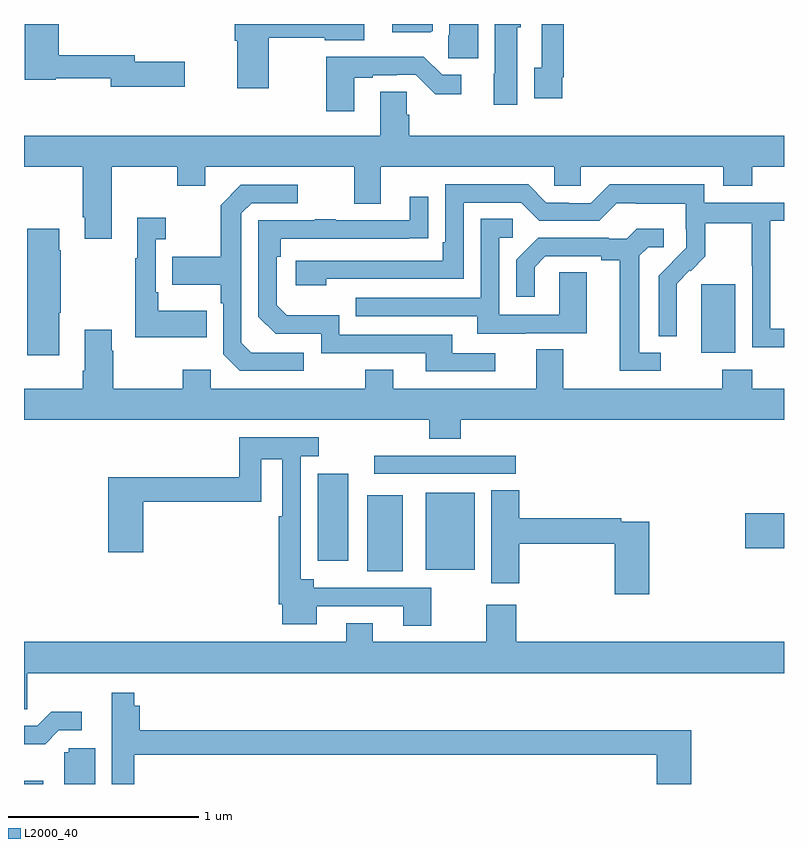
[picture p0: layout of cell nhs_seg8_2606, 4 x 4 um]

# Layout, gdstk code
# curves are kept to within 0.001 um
import gdstk
lib = gdstk.Library(unit=1e-6, precision=1e-09)
def R(c, l, rs):  # rectangles x0, y0, x1, y1
    for r in rs: c.add(gdstk.rectangle(r[:2], r[2:], *l))
def P(c, l, *ps):  # polygons
    for p in ps: c.add(gdstk.Polygon(p, *l))
L2000_40 = (2000, 40)

nhs_seg8_2606 = lib.new_cell('nhs_seg8_2606')
R(nhs_seg8_2606, L2000_40, [(275,1131.9,275.101,1131.916), (276.806,1133.021,276.994,1133.419), (277.115,1133.027,277.372,1133.434), (276.545,1133.076,276.706,1133.533), (278.796,1133.141,279,1133.324), (276.843,1133.532,277.588,1133.628), (278.564,1134.17,278.743,1134.531)])
P(nhs_seg8_2606, L2000_40, [(275.845,1135.701),(275.584,1135.701),(275.584,1135.735),(275.183,1135.735),(275.183,1135.9),(275.005,1135.9),(275.005,1135.606),(275.166,1135.606),(275.166,1135.614),(275.456,1135.614),(275.456,1135.571),(275.845,1135.571)],
  [(277.834,1135.621),(277.841,1135.621),(277.841,1135.9),(277.725,1135.9),(277.725,1135.67),(277.685,1135.67),(277.685,1135.509),(277.834,1135.509)],
  [(277.15,1135.864),(277.15,1135.9),(276.938,1135.9),(276.938,1135.856),(277.142,1135.856)],
  [(277.39,1135.9),(277.238,1135.9),(277.238,1135.842),(277.234,1135.842),(277.234,1135.719),(277.39,1135.719)],
  [(277.597,1135.884),(277.615,1135.884),(277.615,1135.9),(277.478,1135.9),(277.478,1135.638),(277.472,1135.638),(277.472,1135.476),(277.597,1135.476)],
  [(276.288,1135.828),(276.584,1135.828),(276.584,1135.814),(276.79,1135.814),(276.79,1135.9),(276.11,1135.9),(276.11,1135.811),(276.122,1135.811),(276.122,1135.563),(276.288,1135.563)],
  [(276.739,1135.617),(276.835,1135.617),(276.835,1135.629),(276.962,1135.629),(276.962,1135.632),(277.062,1135.632),(277.165,1135.53),(277.3,1135.53),(277.3,1135.632),(277.2,1135.632),(277.105,1135.727),(276.592,1135.727),(276.592,1135.44),(276.739,1135.44)],
  [(275.461,1135.148),(275.806,1135.148),(275.806,1135.049),(275.953,1135.049),(275.953,1135.148),(276.737,1135.148),(276.737,1134.954),(276.877,1134.954),(276.877,1135.148),(277.791,1135.148),(277.791,1135.05),(277.929,1135.05),(277.929,1135.148),(278.681,1135.148),(278.681,1135.049),(278.834,1135.049),(278.834,1135.148),(279,1135.148),(279,1135.312),(277.028,1135.312),(277.028,1135.422),(277.014,1135.422),(277.014,1135.544),(276.875,1135.544),(276.875,1135.312),(275,1135.312),(275,1135.148),(275.309,1135.148),(275.309,1134.883),(275.321,1134.883),(275.321,1134.771),(275.461,1134.771)],
  [(279,1134.297),(278.928,1134.297),(278.928,1134.864),(279,1134.864),(279,1134.96),(278.58,1134.96),(278.58,1135.057),(278.083,1135.057),(277.983,1134.957),(277.868,1134.957),(277.868,1134.96),(277.749,1134.96),(277.653,1135.056),(277.218,1135.056),(277.218,1134.751),(277.205,1134.751),(277.205,1134.654),(276.429,1134.654),(276.429,1134.524),(276.59,1134.524),(276.59,1134.558),(277.314,1134.558),(277.314,1134.96),(277.617,1134.96),(277.713,1134.864),(278.028,1134.864),(278.121,1134.957),(278.221,1134.957),(278.221,1134.953),(278.484,1134.953),(278.484,1134.819),(278.486,1134.819),(278.486,1134.722),(278.34,1134.574),(278.34,1134.256),(278.436,1134.256),(278.435,1134.533),(278.505,1134.603),(278.508,1134.6),(278.585,1134.677),(278.585,1134.852),(278.83,1134.852),(278.83,1134.628),(278.832,1134.628),(278.832,1134.199),(279,1134.199)],
  [(276.472,1134.171),(276.195,1134.171),(276.144,1134.222),(276.144,1134.903),(276.198,1134.957),(276.442,1134.957),(276.442,1135.053),(276.141,1135.053),(276.036,1134.947),(276.036,1134.675),(275.779,1134.675),(275.779,1134.527),(276.036,1134.527),(276.036,1134.431),(276.048,1134.431),(276.048,1134.162),(276.135,1134.075),(276.472,1134.075)],
  [(277.48,1134.168),(277.255,1134.168),(277.255,1134.264),(276.66,1134.264),(276.66,1134.367),(276.383,1134.367),(276.33,1134.42),(276.33,1134.674),(276.35,1134.674),(276.35,1134.771),(277.127,1134.772),(277.127,1134.991),(277.031,1134.991),(277.031,1134.867),(276.641,1134.867),(276.641,1134.872),(276.529,1134.872),(276.529,1134.867),(276.234,1134.867),(276.234,1134.36),(276.324,1134.27),(276.564,1134.27),(276.564,1134.168),(277.115,1134.168),(277.115,1134.072),(277.48,1134.072)],
  [(275.963,1134.391),(275.707,1134.391),(275.707,1134.487),(275.694,1134.487),(275.694,1134.767),(275.746,1134.767),(275.746,1134.88),(275.597,1134.88),(275.597,1134.667),(275.586,1134.667),(275.586,1134.251),(275.963,1134.251)],
  [(277.639,1134.273),(277.963,1134.273),(277.963,1134.593),(277.818,1134.593),(277.818,1134.369),(277.5,1134.369),(277.5,1134.774),(277.573,1134.774),(277.573,1134.875),(277.404,1134.875),(277.404,1134.459),(276.745,1134.459),(276.745,1134.363),(277.385,1134.363),(277.385,1134.269),(277.639,1134.269)],
  [(275.185,1134.379),(275.193,1134.379),(275.193,1134.71),(275.185,1134.71),(275.185,1134.823),(275.018,1134.823),(275.018,1134.156),(275.185,1134.156)],
  [(278.35,1134.171),(278.239,1134.171),(278.239,1134.679),(278.286,1134.726),(278.368,1134.726),(278.368,1134.823),(278.224,1134.823),(278.172,1134.771),(278.078,1134.771),(278.078,1134.774),(277.706,1134.774),(277.59,1134.658),(277.59,1134.465),(277.687,1134.465),(277.687,1134.621),(277.744,1134.678),(278.039,1134.678),(278.039,1134.656),(278.135,1134.656),(278.135,1134.075),(278.35,1134.075)],
  [(277.298,1133.816),(279,1133.816),(279,1133.98),(278.834,1133.98),(278.834,1134.079),(278.674,1134.079),(278.674,1133.98),(277.837,1133.98),(277.837,1134.188),(277.697,1134.188),(277.697,1133.98),(276.943,1133.98),(276.943,1134.079),(276.796,1134.079),(276.796,1133.98),(275.982,1133.98),(275.982,1134.079),(275.836,1134.079),(275.836,1133.98),(275.469,1133.98),(275.469,1134.179),(275.461,1134.179),(275.461,1134.292),(275.321,1134.292),(275.321,1134.076),(275.309,1134.076),(275.309,1133.98),(275,1133.98),(275,1133.816),(277.133,1133.816),(277.133,1133.717),(277.298,1133.717)],
  [(277.143,1132.932),(276.526,1132.932),(276.526,1132.978),(276.456,1132.978),(276.456,1133.624),(276.55,1133.624),(276.55,1133.724),(276.133,1133.724),(276.133,1133.515),(275.444,1133.515),(275.444,1133.121),(275.627,1133.121),(275.627,1133.386),(276.249,1133.386),(276.249,1133.608),(276.36,1133.608),(276.36,1133.309),(276.34,1133.309),(276.34,1132.846),(276.359,1132.846),(276.359,1132.742),(276.541,1132.742),(276.541,1132.836),(276.995,1132.836),(276.995,1132.734),(277.143,1132.734)],
  [(278.291,1133.28),(278.144,1133.28),(278.144,1133.3),(277.607,1133.3),(277.607,1133.447),(277.46,1133.447),(277.46,1132.956),(277.607,1132.956),(277.607,1133.164),(278.108,1133.164),(278.108,1132.899),(278.291,1132.899)],
  [(275.016,1132.484),(279,1132.484),(279,1132.648),(277.592,1132.648),(277.592,1132.843),(277.432,1132.843),(277.432,1132.648),(276.835,1132.648),(276.835,1132.747),(276.695,1132.747),(276.695,1132.648),(275,1132.648),(275,1132.294),(275.016,1132.294)],
  [(275.579,1132.054),(278.33,1132.054),(278.33,1131.9),(278.513,1131.9),(278.513,1132.183),(275.609,1132.183),(275.609,1132.312),(275.579,1132.312),(275.579,1132.381),(275.463,1132.381),(275.463,1131.9),(275.579,1131.9)],
  [(275.184,1132.182),(275.305,1132.182),(275.305,1132.279),(275.143,1132.279),(275.07,1132.206),(275,1132.206),(275,1132.11),(275.012,1132.11),(275.012,1132.109),(275.111,1132.109)],
  [(275.374,1132.089),(275.235,1132.089),(275.235,1132.068),(275.213,1132.068),(275.213,1131.9),(275.374,1131.9)])

lib.write_gds('nhs_seg8_2606.gds')
